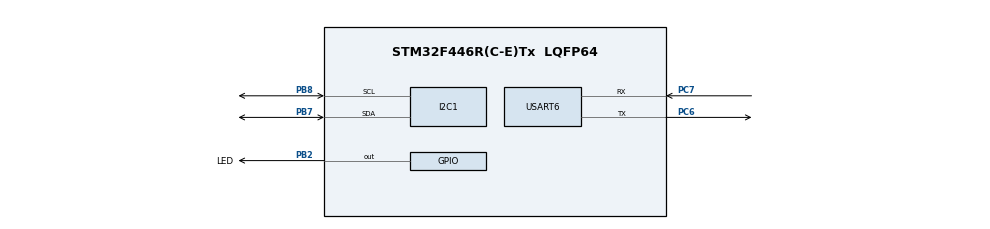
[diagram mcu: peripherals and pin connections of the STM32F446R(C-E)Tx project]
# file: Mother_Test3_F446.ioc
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Mcu.Family=STM32F4
Mcu.Name=STM32F446R(C-E)Tx
Mcu.Package=LQFP64
NVIC.PriorityGroup=NVIC_PRIORITYGROUP_4
PB2.GPIO_Label=LED
PB2.Signal=GPIO_Output
PB7.Mode=I2C
PB7.Signal=I2C1_SDA
PB8.Mode=I2C
PB8.Signal=I2C1_SCL
PC6.Mode=Asynchronous
PC6.Signal=USART6_TX
PC7.Mode=Asynchronous
PC7.Signal=USART6_RX
ProjectManager.HeapSize=0x200
ProjectManager.StackSize=0x400
ProjectManager.TargetToolchain=STM32CubeIDE
RCC.CortexFreq_Value=16000000
RCC.USBFreq_Value=96000000
RCC.VCOOutputFreq_Value=192000000
USART6.VirtualMode=VM_ASYNC
board=custom

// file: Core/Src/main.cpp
/* USER CODE BEGIN Header */
/**
  ******************************************************************************
  * @file           : main.c
  * @brief          : Main program body
  ******************************************************************************
  * @attention
  *
  * Copyright (c) 2024 STMicroelectronics.
  * All rights reserved.
  *
  * This software is licensed under terms that can be found in the LICENSE file
  * in the root directory of this software component.
  * If no LICENSE file comes with this software, it is provided AS-IS.
  *
  ******************************************************************************
  */
/* USER CODE END Header */
#include "main.h"

/* USER CODE BEGIN Includes */
#include "bno055_stm32.h"
#include "move.h"

/* USER CODE END Includes */

I2C_HandleTypeDef hi2c1;

UART_HandleTypeDef huart6;

/* USER CODE BEGIN PV */
int rotate;
MOVE motor_A(0, 45);
MOVE motor_B(1, 135);
MOVE motor_C(2, -135);
MOVE motor_D(3, -45);
uint8_t Buf[12];

/* USER CODE END PV */

void SystemClock_Config(void);
static void MX_GPIO_Init(void);
static void MX_I2C1_Init(void);
static void MX_USART6_UART_Init(void);

int main(void)
{

  /* MCU Configuration--------------------------------------------------------*/

  /* Reset of all peripherals, Initializes the Flash interface and the Systick. */
  HAL_Init();

  /* Configure the system clock */
  SystemClock_Config();

  /* Initialize all configured peripherals */
  MX_GPIO_Init();
  MX_I2C1_Init();
  MX_USART6_UART_Init();
  /* USER CODE BEGIN 2 */
  bno055_assignI2C(&hi2c1);
  bno055_setup();
  bno055_setOperationModeNDOF();

  /* USER CODE END 2 */

  /* Infinite loop */
  while (1)
  {

    /* USER CODE BEGIN 3 */
	  if(rotate>1 && rotate<20){
		  HAL_GPIO_WritePin(LED_GPIO_Port, LED_Pin, GPIO_PIN_SET);
	  }else{
		  HAL_GPIO_WritePin(LED_GPIO_Port, LED_Pin, GPIO_PIN_RESET);
	  }
	  bno055_vector_t v = bno055_getVectorEuler();
	  rotate = (int)v.x;
	  motor_A.calcurate(rotate, 90, 50);
	  motor_A.set_array(Buf);
	  motor_B.calcurate(rotate, 90, 50);
	  motor_B.set_array(Buf);
	  motor_C.calcurate(rotate, 90, 50);
	  motor_C.set_array(Buf);
	  motor_D.calcurate(rotate, 90, 50);
	  motor_D.set_array(Buf);

	  HAL_UART_Transmit(&huart6, (uint8_t*)&Buf, 12, 100);
  }
  /* USER CODE END 3 */
}

void SystemClock_Config(void)
{
  RCC_OscInitTypeDef RCC_OscInitStruct = {0};
  RCC_ClkInitTypeDef RCC_ClkInitStruct = {0};

  /** Configure the main internal regulator output voltage
  */
  __HAL_RCC_PWR_CLK_ENABLE();
  __HAL_PWR_VOLTAGESCALING_CONFIG(PWR_REGULATOR_VOLTAGE_SCALE3);

  /** Initializes the RCC Oscillators according to the specified parameters
  * in the RCC_OscInitTypeDef structure.
  */
  RCC_OscInitStruct.OscillatorType = RCC_OSCILLATORTYPE_HSI;
  RCC_OscInitStruct.HSIState = RCC_HSI_ON;
  RCC_OscInitStruct.HSICalibrationValue = RCC_HSICALIBRATION_DEFAULT;
  RCC_OscInitStruct.PLL.PLLState = RCC_PLL_NONE;
  if (HAL_RCC_OscConfig(&RCC_OscInitStruct) != HAL_OK)
  {
    Error_Handler();
  }

  /** Initializes the CPU, AHB and APB buses clocks
  */
  RCC_ClkInitStruct.ClockType = RCC_CLOCKTYPE_HCLK|RCC_CLOCKTYPE_SYSCLK
                              |RCC_CLOCKTYPE_PCLK1|RCC_CLOCKTYPE_PCLK2;
  RCC_ClkInitStruct.SYSCLKSource = RCC_SYSCLKSOURCE_HSI;
  RCC_ClkInitStruct.AHBCLKDivider = RCC_SYSCLK_DIV1;
  RCC_ClkInitStruct.APB1CLKDivider = RCC_HCLK_DIV1;
  RCC_ClkInitStruct.APB2CLKDivider = RCC_HCLK_DIV1;

  if (HAL_RCC_ClockConfig(&RCC_ClkInitStruct, FLASH_LATENCY_0) != HAL_OK)
  {
    Error_Handler();
  }
}

static void MX_I2C1_Init(void)
{

  hi2c1.Instance = I2C1;
  hi2c1.Init.ClockSpeed = 100000;
  hi2c1.Init.DutyCycle = I2C_DUTYCYCLE_2;
  hi2c1.Init.OwnAddress1 = 0;
  hi2c1.Init.AddressingMode = I2C_ADDRESSINGMODE_7BIT;
  hi2c1.Init.DualAddressMode = I2C_DUALADDRESS_DISABLE;
  hi2c1.Init.OwnAddress2 = 0;
  hi2c1.Init.GeneralCallMode = I2C_GENERALCALL_DISABLE;
  hi2c1.Init.NoStretchMode = I2C_NOSTRETCH_DISABLE;
  if (HAL_I2C_Init(&hi2c1) != HAL_OK)
  {
    Error_Handler();
  }

}

static void MX_USART6_UART_Init(void)
{

  huart6.Instance = USART6;
  huart6.Init.BaudRate = 115200;
  huart6.Init.WordLength = UART_WORDLENGTH_8B;
  huart6.Init.StopBits = UART_STOPBITS_1;
  huart6.Init.Parity = UART_PARITY_NONE;
  huart6.Init.Mode = UART_MODE_TX_RX;
  huart6.Init.HwFlowCtl = UART_HWCONTROL_NONE;
  huart6.Init.OverSampling = UART_OVERSAMPLING_16;
  if (HAL_UART_Init(&huart6) != HAL_OK)
  {
    Error_Handler();
  }

}

static void MX_GPIO_Init(void)
{
  GPIO_InitTypeDef GPIO_InitStruct = {0};

  /* GPIO Ports Clock Enable */
  __HAL_RCC_GPIOB_CLK_ENABLE();
  __HAL_RCC_GPIOC_CLK_ENABLE();

  /*Configure GPIO pin Output Level */
  HAL_GPIO_WritePin(LED_GPIO_Port, LED_Pin, GPIO_PIN_RESET);

  /*Configure GPIO pin : LED_Pin */
  GPIO_InitStruct.Pin = LED_Pin;
  GPIO_InitStruct.Mode = GPIO_MODE_OUTPUT_PP;
  GPIO_InitStruct.Pull = GPIO_NOPULL;
  GPIO_InitStruct.Speed = GPIO_SPEED_FREQ_LOW;
  HAL_GPIO_Init(LED_GPIO_Port, &GPIO_InitStruct);

}

void Error_Handler(void)
{
  __disable_irq();
  while (1)
  {
  }
}
